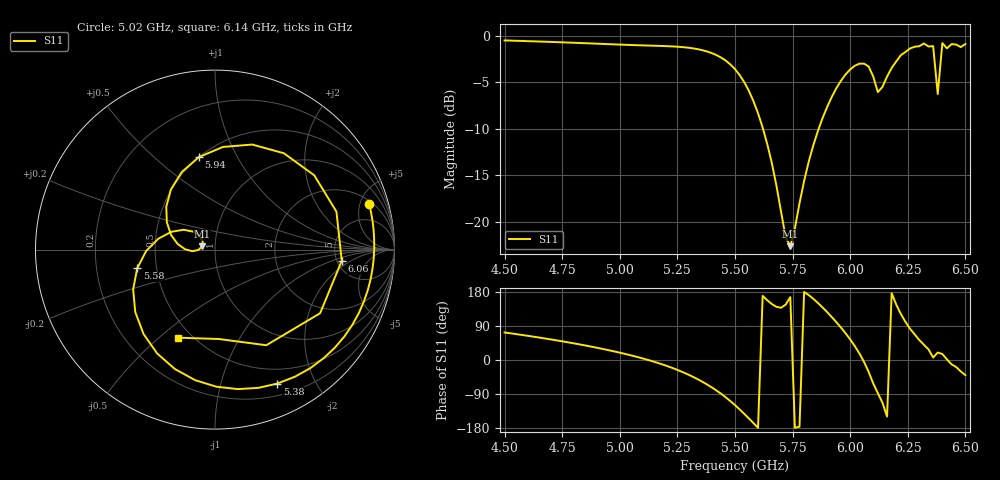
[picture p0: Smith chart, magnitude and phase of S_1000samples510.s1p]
! TOUCHSTONE file generated by CST MICROWAVE STUDIO
! Date and time: Fri Oct 28 10:18:29 2022
! Project name: L.cst
! Parameters = {Di=1.27; Epsilon_r=1.56; InnerDiameter=1.27; Length=2; Lf=10; Lg=60; OuterConductorThickness=0.2921; OuterDiameter=3.6; Wf=3; Wp=41.2; de=1.5; df=6.8; g=0.8; gx=3.41186; gy=1.33168; h=2.34; hf=1.524; px=8.40562; py=13.375; w=9.7; wx=4.99376; wy=12.0433}
! Header version: 2018
! Port assignment regex: !\s*Touchstone port\s*([0-9]+)\s*=\s*(CST MWS port|CST DS port)\s*([0-9]+|Zmin|Zmax)\s*\(\"(.*)\"\)(\s*mode\s*([0-9]+))?.*
! Touchstone port assignment:
! Touchstone port 1 = CST MWS port 1 ("")
# GHz S DB R 50
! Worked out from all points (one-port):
!   101 points, 4.5 GHz to 6.5 GHz, reference 50 ohm
!   lowest |S11| = -22.6 dB at 5.74 GHz (marker M1), VSWR 1.16, Z = 43.3 + j1.55 ohm
!   |S11| at or under -10 dB: 5.622 GHz to 5.863 GHz (241.5 MHz wide, 4.21 % of centre)
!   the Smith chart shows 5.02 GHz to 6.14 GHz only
!   S11 on the Smith chart (normalised r, x): 5.02 GHz: 2.34, +6.02; 5.38 GHz: 0.33, -1.52; 5.58 GHz: 0.39, -0.10; 5.94 GHz: 0.50, +0.71; 6.06 GHz: 5.51, -1.38; 6.14 GHz: 0.42, -0.58
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4.5  -0.49 72.6
4.76  -0.70 48.3
5  -0.94 19.3
5.02  -0.95 16.5
5.26  -1.18 -28.6
5.38  -1.69 -65.0
5.44  -2.34 -89.3
5.5  -3.58 -119.1
5.58  -7.02 -166.4
5.64  -11.63 157.7
5.74  -22.61 166.1
5.76  -20.68 -178.8
5.88  -8.84 138.7
5.94  -5.63 99.9
6  -3.61 54.4
6.06  -2.99 -5.1
6.08  -3.29 -31.2
6.1  -4.37 -61.8
6.14  -5.48 -112.7
6.18  -3.45 176.5
6.22  -2.07 121.2
6.26  -1.35 82.2
6.32  -0.82 40.2
6.36  -1.11 6.5
6.38  -6.25 19.7
6.4  -0.78 15.8
6.44  -0.89 -11.4
6.5  -0.87 -39.9
